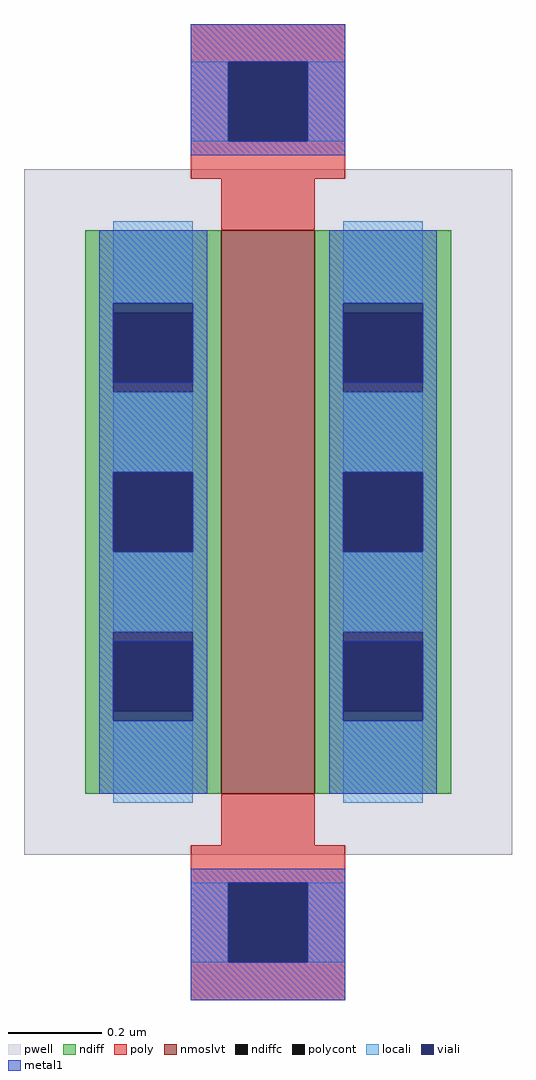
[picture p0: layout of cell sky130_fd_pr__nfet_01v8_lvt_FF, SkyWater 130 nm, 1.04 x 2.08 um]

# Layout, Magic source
magic
tech sky130A
magscale 1 2
<< pwell >>
rect -104 -146 104 146
<< nmoslvt >>
rect -20 -120 20 120
<< ndiff >>
rect -78 85 -20 120
rect -78 51 -66 85
rect -32 51 -20 85
rect -78 17 -20 51
rect -78 -17 -66 17
rect -32 -17 -20 17
rect -78 -51 -20 -17
rect -78 -85 -66 -51
rect -32 -85 -20 -51
rect -78 -120 -20 -85
rect 20 85 78 120
rect 20 51 32 85
rect 66 51 78 85
rect 20 17 78 51
rect 20 -17 32 17
rect 66 -17 78 17
rect 20 -51 78 -17
rect 20 -85 32 -51
rect 66 -85 78 -51
rect 20 -120 78 -85
<< ndiffc >>
rect -66 51 -32 85
rect -66 -17 -32 17
rect -66 -85 -32 -51
rect 32 51 66 85
rect 32 -17 66 17
rect 32 -85 66 -51
<< poly >>
rect -33 192 33 208
rect -33 158 -17 192
rect 17 158 33 192
rect -33 142 33 158
rect -20 120 20 142
rect -20 -142 20 -120
rect -33 -158 33 -142
rect -33 -192 -17 -158
rect 17 -192 33 -158
rect -33 -208 33 -192
<< polycont >>
rect -17 158 17 192
rect -17 -192 17 -158
<< locali >>
rect -33 158 -17 192
rect 17 158 33 192
rect -66 89 -32 124
rect -66 17 -32 51
rect -66 -51 -32 -17
rect -66 -124 -32 -89
rect 32 89 66 124
rect 32 17 66 51
rect 32 -51 66 -17
rect 32 -124 66 -89
rect -33 -192 -17 -158
rect 17 -192 33 -158
<< viali >>
rect -17 158 17 192
rect -66 85 -32 89
rect -66 55 -32 85
rect -66 -17 -32 17
rect -66 -85 -32 -55
rect -66 -89 -32 -85
rect 32 85 66 89
rect 32 55 66 85
rect 32 -17 66 17
rect 32 -85 66 -55
rect 32 -89 66 -85
rect -17 -192 17 -158
<< metal1 >>
rect -33 192 33 208
rect -33 158 -17 192
rect 17 158 33 192
rect -33 152 33 158
rect -72 89 -26 120
rect -72 55 -66 89
rect -32 55 -26 89
rect -72 17 -26 55
rect -72 -17 -66 17
rect -32 -17 -26 17
rect -72 -55 -26 -17
rect -72 -89 -66 -55
rect -32 -89 -26 -55
rect -72 -120 -26 -89
rect 26 89 72 120
rect 26 55 32 89
rect 66 55 72 89
rect 26 17 72 55
rect 26 -17 32 17
rect 66 -17 72 17
rect 26 -55 72 -17
rect 26 -89 32 -55
rect 66 -89 72 -55
rect 26 -120 72 -89
rect -33 -158 33 -152
rect -33 -192 -17 -158
rect 17 -192 33 -158
rect -33 -208 33 -192
<< end >>
